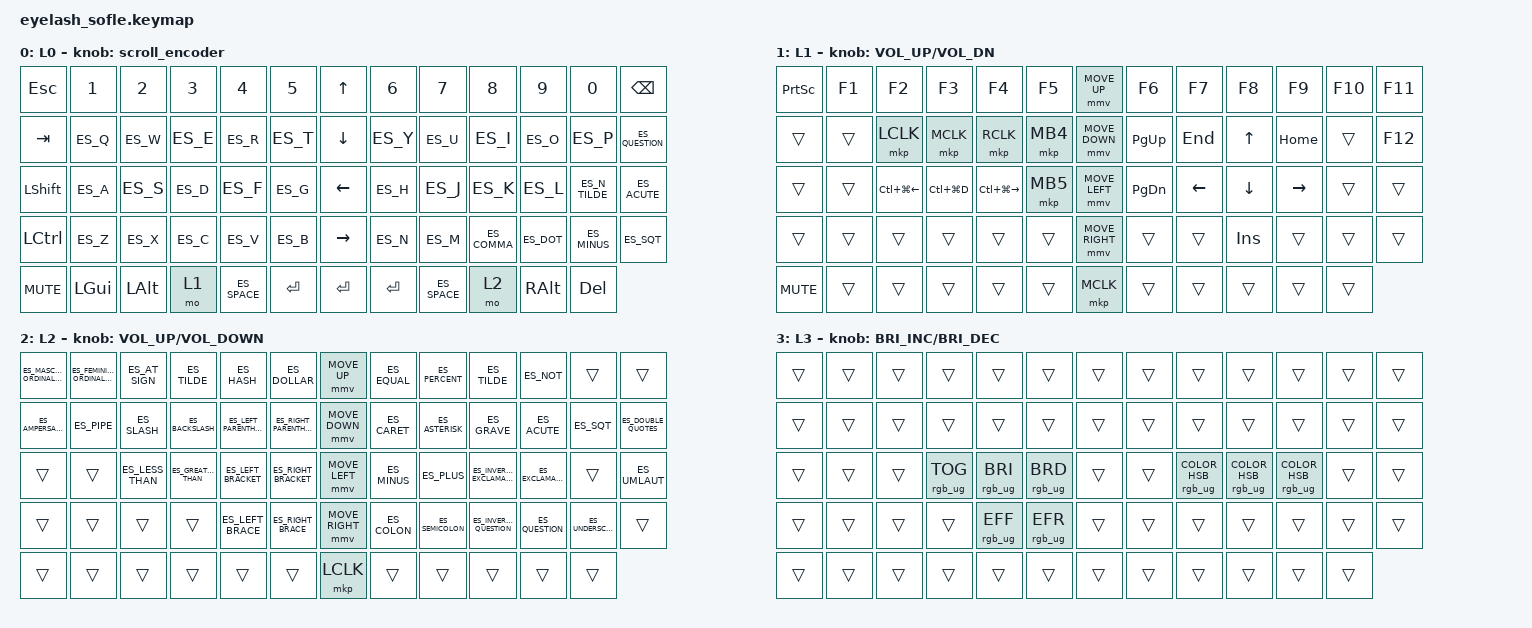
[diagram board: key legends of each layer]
#define ZMK_POINTING_DEFAULT_MOVE_VAL 1200  // 600
#define ZMK_POINTING_DEFAULT_SCRL_VAL 35    // 10

#include "keys_es.h"
#include <input/processors.dtsi>
#include <zephyr/dt-bindings/input/input-event-codes.h>
#include <behaviors.dtsi>
#include <dt-bindings/zmk/keys.h>
#include <dt-bindings/zmk/pointing.h>
#include <dt-bindings/zmk/rgb.h>

/ {
    zip_scroll_scaler: zip_scroll_scaler {
        compatible = "zmk,input-processor-scaler";
        #input-processor-cells = <2>;
        type = <INPUT_EV_REL>;
        codes = <INPUT_REL_WHEEL INPUT_REL_HWHEEL>;
        track-remainders;
    };
};

&mmv_input_listener { input-processors = <&zip_xy_scaler 2 1>; };

&msc_input_listener { input-processors = <&zip_scroll_scaler 2 1>; };

&msc {
    acceleration-exponent = <0>;      // 0
    time-to-max-speed-ms = <0>;       // 300
    delay-ms = <0>;                   // 0
};

&mmv {
    time-to-max-speed-ms = <400>;
    acceleration-exponent = <1>;
};

/ {
    scroll_encoder: scroll_encoder {
        compatible = "zmk,behavior-sensor-rotate";
        #sensor-binding-cells = <0>;
        bindings = <&msc SCRL_DOWN>, <&msc SCRL_UP>;

        tap-ms = <100>;
    };

    macros {
        shift_MB3: shift_MB3 {
            compatible = "zmk,behavior-macro";
            #binding-cells = <0>;
            bindings =
                <&macro_press>,
                <&kp LEFT_SHIFT>,
                <&macro_press>,
                <&mkp MB3>,
                <&macro_pause_for_release>,
                <&macro_release>,
                <&mkp MB3 &kp LEFT_SHIFT>;

            label = "SHIFT_MB3";
        };
    };

    behaviors {
    };

    keymap {
        compatible = "zmk,keymap";

        layer_0 {
            bindings = <
&kp ESC           &kp N1        &kp N2        &kp N3    &kp N4        &kp N5       &kp UP_ARROW     &kp N6     &kp N7        &kp N8        &kp N9      &kp N0          &kp BACKSPACE
&kp TAB           &kp ES_Q      &kp ES_W      &kp ES_E  &kp ES_R      &kp ES_T     &kp DOWN_ARROW   &kp ES_Y   &kp ES_U      &kp ES_I      &kp ES_O    &kp ES_P        &kp ES_QUESTION
&kp LSHIFT        &kp ES_A      &kp ES_S      &kp ES_D  &kp ES_F      &kp ES_G     &kp LEFT_ARROW   &kp ES_H   &kp ES_J      &kp ES_K      &kp ES_L    &kp ES_N_TILDE  &kp ES_ACUTE
&kp LEFT_CONTROL  &kp ES_Z      &kp ES_X      &kp ES_C  &kp ES_V      &kp ES_B     &kp RIGHT_ARROW  &kp ES_N   &kp ES_M      &kp ES_COMMA  &kp ES_DOT  &kp ES_MINUS    &kp ES_SQT
&kp C_MUTE        &kp LEFT_GUI  &kp LEFT_ALT  &mo 1     &kp ES_SPACE  &kp ENTER    &kp ENTER        &kp ENTER  &kp ES_SPACE  &mo 2         &kp RALT    &kp DELETE
            >;

            display-name = "L0";
            sensor-bindings = <&scroll_encoder>;
        };

        layer_1 {
            bindings = <
&kp PRINTSCREEN  &kp F1  &kp F2                  &kp F3         &kp F4                   &kp F5      &mmv MOVE_UP     &kp F6     &kp F7    &kp F8      &kp F9     &kp F10  &kp F11
&trans           &trans  &mkp LCLK               &mkp MCLK      &mkp RCLK                &mkp MB4    &mmv MOVE_DOWN   &kp PG_UP  &kp END   &kp UP      &kp HOME   &trans   &kp F12
&trans           &trans  &kp LC(LG(LEFT_ARROW))  &kp LC(LG(D))  &kp LC(LG(RIGHT_ARROW))  &mkp MB5    &mmv MOVE_LEFT   &kp PG_DN  &kp LEFT  &kp DOWN    &kp RIGHT  &trans   &trans
&trans           &trans  &trans                  &trans         &trans                   &trans      &mmv MOVE_RIGHT  &trans     &trans    &kp INSERT  &trans     &trans   &trans
&kp C_MUTE       &trans  &trans                  &trans         &trans                   &trans      &mkp MCLK        &trans     &trans    &trans      &trans     &trans
            >;

            display-name = "L1";
            sensor-bindings = <&inc_dec_kp C_VOLUME_UP C_VOL_DN>;
        };

        layer_2 {
            bindings = <
&kp ES_MASCULINE_ORDINAL_INDICATOR  &kp ES_FEMININE_ORDINAL_INDICATOR  &kp ES_AT_SIGN    &kp ES_TILDE         &kp ES_HASH              &kp ES_DOLLAR               &mmv MOVE_UP     &kp ES_EQUAL  &kp ES_PERCENT    &kp ES_TILDE                 &kp ES_NOT          &trans             &trans
&kp ES_AMPERSAND                    &kp ES_PIPE                        &kp ES_SLASH      &kp ES_BACKSLASH     &kp ES_LEFT_PARENTHESIS  &kp ES_RIGHT_PARENTHESIS    &mmv MOVE_DOWN   &kp ES_CARET  &kp ES_ASTERISK   &kp ES_GRAVE                 &kp ES_ACUTE        &kp ES_SQT         &kp ES_DOUBLE_QUOTES
&trans                              &trans                             &kp ES_LESS_THAN  &kp ES_GREATER_THAN  &kp ES_LEFT_BRACKET      &kp ES_RIGHT_BRACKET        &mmv MOVE_LEFT   &kp ES_MINUS  &kp ES_PLUS       &kp ES_INVERTED_EXCLAMATION  &kp ES_EXCLAMATION  &trans             &kp ES_UMLAUT
&trans                              &trans                             &trans            &trans               &kp ES_LEFT_BRACE        &kp ES_RIGHT_BRACE          &mmv MOVE_RIGHT  &kp ES_COLON  &kp ES_SEMICOLON  &kp ES_INVERTED_QUESTION     &kp ES_QUESTION     &kp ES_UNDERSCORE  &trans
&trans                              &trans                             &trans            &trans               &trans                   &trans                      &mkp LCLK        &trans        &trans            &trans                       &trans              &trans
            >;

            display-name = "L2";
            sensor-bindings = <&inc_dec_kp C_VOLUME_UP C_VOLUME_DOWN>;
        };

        layer_3 {
            bindings = <
&trans  &trans  &trans  &trans           &trans           &trans             &trans  &trans  &trans                          &trans                             &trans                             &trans  &trans
&trans  &trans  &trans  &trans           &trans           &trans             &trans  &trans  &trans                          &trans                             &trans                             &trans  &trans
&trans  &trans  &trans  &rgb_ug RGB_TOG  &rgb_ug RGB_BRI  &rgb_ug RGB_BRD    &trans  &trans  &rgb_ug RGB_COLOR_HSB(0,0,100)  &rgb_ug RGB_COLOR_HSB(272,100,48)  &rgb_ug RGB_COLOR_HSB(163,100,50)  &trans  &trans
&trans  &trans  &trans  &trans           &rgb_ug RGB_EFF  &rgb_ug RGB_EFR    &trans  &trans  &trans                          &trans                             &trans                             &trans  &trans
&trans  &trans  &trans  &trans           &trans           &trans             &trans  &trans  &trans                          &trans                             &trans                             &trans
            >;

            display-name = "L3";
            sensor-bindings = <&inc_dec_kp C_BRIGHTNESS_INC C_BRIGHTNESS_DEC>;
        };
    };

    conditional_layers {
        compatible = "zmk,conditional-layers";

        Layer_3 {
            if-layers = <1 2>;
            then-layer = <3>;
        };
    };
};
